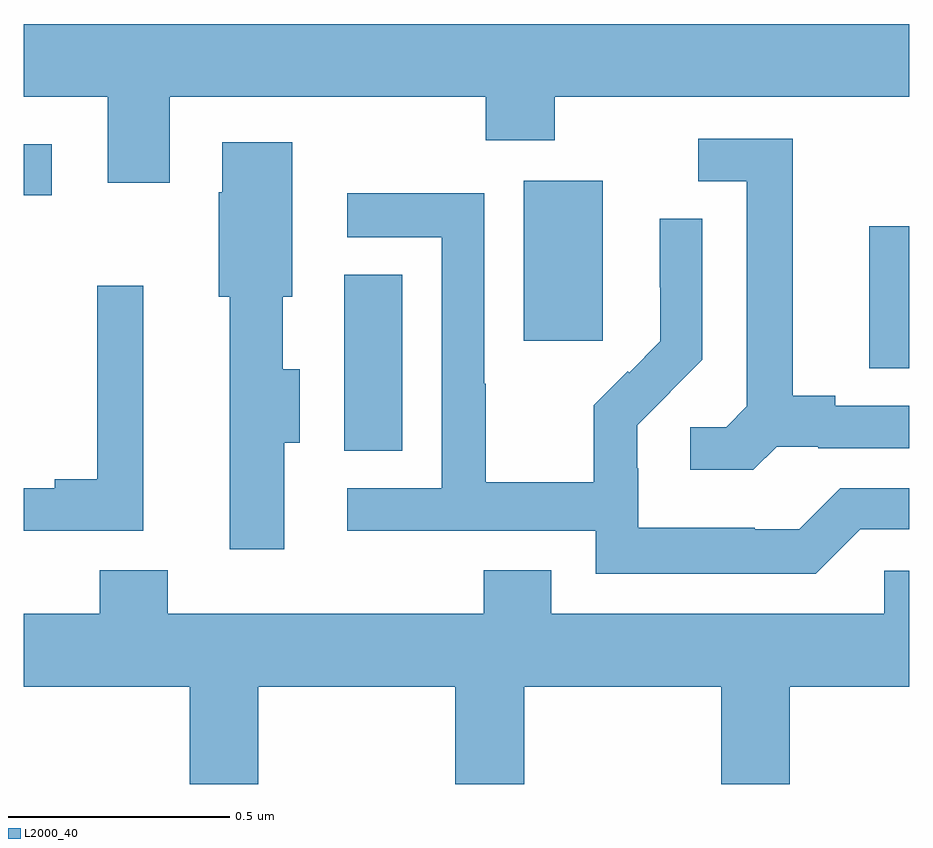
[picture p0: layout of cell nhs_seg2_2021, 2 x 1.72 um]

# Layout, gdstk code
import gdstk
lib = gdstk.Library(unit=1e-6, precision=1e-09)
def R(c, l, rs):  # rectangles x0, y0, x1, y1
    for r in rs: c.add(gdstk.rectangle(r[:2], r[2:], *l))
def P(c, l, *ps):  # polygons
    for p in ps: c.add(gdstk.Polygon(p, *l))
L2000_40 = (2000, 40)

nhs_seg2_2021 = lib.new_cell('nhs_seg2_2021')
R(nhs_seg2_2021, L2000_40, [(136.724,597.553,136.855,597.95), (137.909,597.739,138,598.059), (137.129,597.801,137.308,598.162), (136,598.129,136.063,598.245)])
P(nhs_seg2_2021, L2000_40, [(136.33,598.352),(137.044,598.352),(137.044,598.253),(137.199,598.253),(137.199,598.352),(138,598.352),(138,598.516),(136,598.516),(136,598.352),(136.19,598.352),(136.19,598.158),(136.33,598.158)],
  [(137.7,597.561),(137.794,597.561),(137.794,597.558),(138,597.558),(138,597.654),(137.833,597.654),(137.833,597.677),(137.737,597.677),(137.737,598.257),(137.523,598.257),(137.523,598.161),(137.633,598.161),(137.633,597.653),(137.586,597.606),(137.505,597.606),(137.505,597.509),(137.648,597.509)],
  [(136.588,597.571),(136.624,597.571),(136.624,597.736),(136.585,597.736),(136.585,597.9),(136.606,597.9),(136.606,598.249),(136.448,598.249),(136.448,598.136),(136.441,598.136),(136.441,597.9),(136.466,597.9),(136.466,597.33),(136.588,597.33)],
  [(137.889,597.375),(138,597.375),(138,597.468),(137.844,597.468),(137.751,597.375),(137.651,597.375),(137.651,597.379),(137.388,597.379),(137.388,597.513),(137.386,597.513),(137.386,597.61),(137.46,597.684),(137.459,597.685),(137.532,597.758),(137.532,598.076),(137.436,598.076),(137.436,597.922),(137.438,597.922),(137.438,597.8),(137.367,597.729),(137.364,597.732),(137.287,597.655),(137.287,597.481),(137.043,597.481),(137.043,597.704),(137.04,597.704),(137.04,598.134),(136.731,598.134),(136.731,598.035),(136.944,598.035),(136.944,597.468),(136.731,597.468),(136.731,597.372),(137.292,597.372),(137.292,597.275),(137.789,597.275)],
  [(136.27,597.925),(136.166,597.925),(136.166,597.488),(136.07,597.488),(136.07,597.468),(136,597.468),(136,597.372),(136.27,597.372)],
  [(136.53,597.02),(136.975,597.02),(136.975,596.8),(137.13,596.8),(137.13,597.02),(137.575,597.02),(137.575,596.8),(137.73,596.8),(137.73,597.02),(138,597.02),(138,597.282),(137.943,597.282),(137.943,597.184),(137.191,597.184),(137.191,597.283),(137.039,597.283),(137.039,597.184),(136.325,597.184),(136.325,597.283),(136.172,597.283),(136.172,597.184),(136,597.184),(136,597.02),(136.375,597.02),(136.375,596.8),(136.53,596.8)])

lib.write_gds('nhs_seg2_2021.gds')
